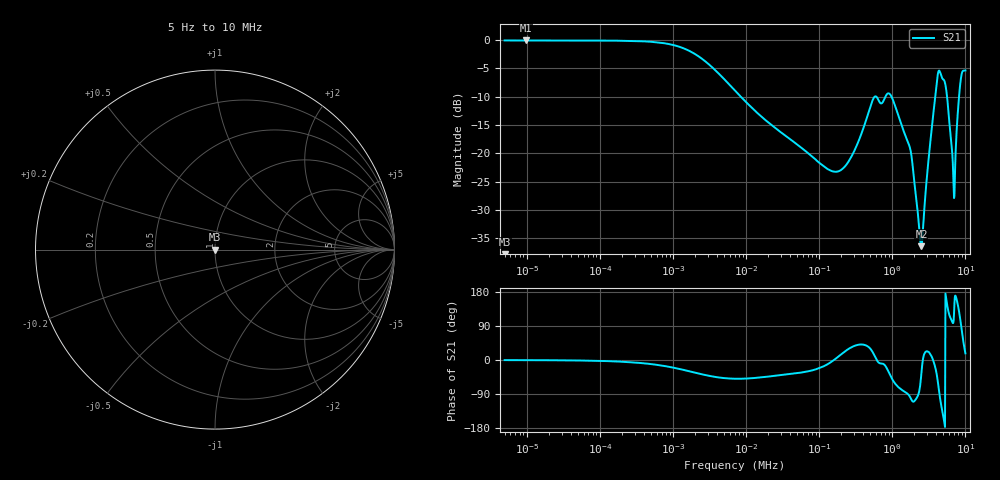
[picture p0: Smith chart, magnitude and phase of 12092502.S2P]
!Agilent Technologies,E5061B,MY49204007,A.02.12
!Date: Fri Sep 12 09:31:16 2025
!Data & Calibration Information:
!Freq	S11:SOLT2(OFF)	S21:SOLT2(OFF)	S12:SOLT2(OFF)	S22:SOLT2(OFF)
# Hz S dB R 50
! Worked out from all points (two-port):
!   1041 points, 5 Hz to 10 MHz, reference 50 ohm
!   highest |S21| = -0.05 dB at 9.809 Hz (marker M1); lowest = -36.4 dB at 2.503 MHz (marker M2)
!   |S21| within 3 dB of the highest: start of sweep to 2.36 kHz
!   lowest |S11| = - dB at 5 Hz (marker M3), VSWR 1.00, Z = 50 + j0 ohm
!   |S11| at or under -10 dB: start of sweep to end of sweep
!   S12 and S22 are empty: the file has one direction only
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5  -200.00 0.0  -0.05 -0.3  -200.00 0.0  -200.00 0.0
9.809  -200.00 0.0  -0.05 -0.4  -200.00 0.0  -200.00 0.0
56.522  -200.00 0.0  -0.06 -1.4  -200.00 0.0  -200.00 0.0
632.897  -200.00 0.0  -0.40 -13.3  -200.00 0.0  -200.00 0.0
2229.669  -200.00 0.0  -2.83 -35.5  -200.00 0.0  -200.00 0.0
7154.49  -200.00 0.0  -8.97 -49.5  -200.00 0.0  -200.00 0.0
80111.67  -200.00 0.0  -20.55 -27.4  -200.00 0.0  -200.00 0.0
201894.5  -200.00 0.0  -22.88 15.6  -200.00 0.0  -200.00 0.0
496492.2  -200.00 0.0  -11.90 30.6  -200.00 0.0  -200.00 0.0
893075.1  -200.00 0.0  -9.40 -31.8  -200.00 0.0  -200.00 0.0
1744260  -200.00 0.0  -19.00 -97.0  -200.00 0.0  -200.00 0.0
2502620  -200.00 0.0  -36.38 -34.6  -200.00 0.0  -200.00 0.0
3545558  -200.00 0.0  -14.38 4.2  -200.00 0.0  -200.00 0.0
3935896  -200.00 0.0  -9.10 -25.2  -200.00 0.0  -200.00 0.0
4252067  -200.00 0.0  -5.65 -65.4  -200.00 0.0  -200.00 0.0
4568238  -200.00 0.0  -5.86 -108.7  -200.00 0.0  -200.00 0.0
5074112  -200.00 0.0  -7.02 -156.4  -200.00 0.0  -200.00 0.0
5773548  -200.00 0.0  -11.61 133.9  -200.00 0.0  -200.00 0.0
6906588  -200.00 0.0  -25.86 104.3  -200.00 0.0  -200.00 0.0
8198050  -200.00 0.0  -9.87 127.6  -200.00 0.0  -200.00 0.0
9038960  -200.00 0.0  -5.66 69.6  -200.00 0.0  -200.00 0.0
1e7  -200.00 0.0  -5.35 17.5  -200.00 0.0  -200.00 0.0
